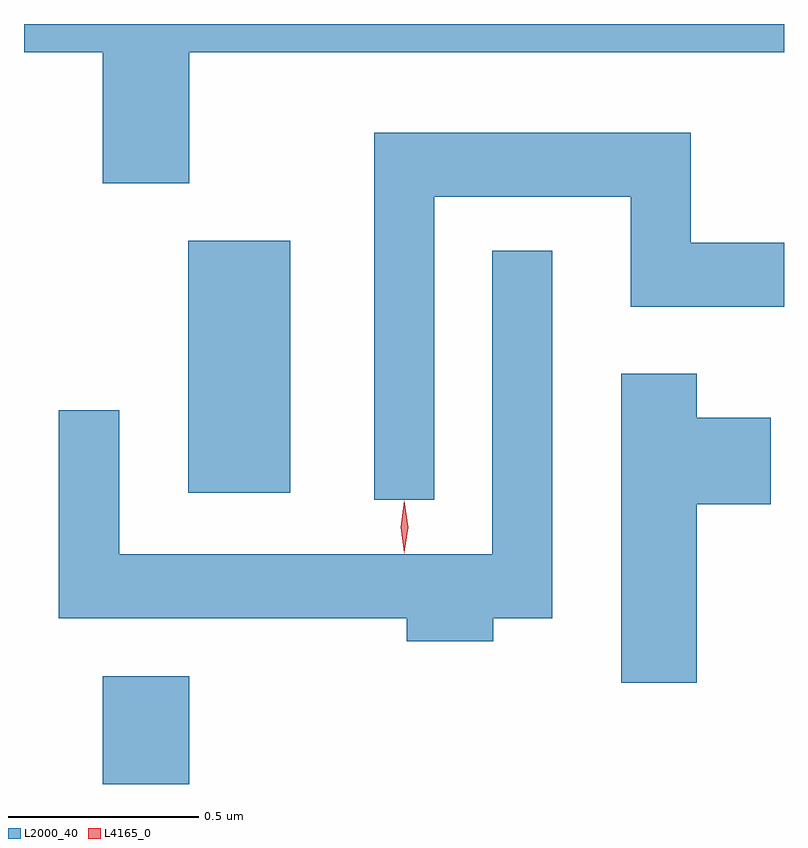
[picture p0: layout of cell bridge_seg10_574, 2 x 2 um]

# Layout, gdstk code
import gdstk
lib = gdstk.Library(unit=1e-6, precision=1e-09)
def R(c, l, rs):  # rectangles x0, y0, x1, y1
    for r in rs: c.add(gdstk.rectangle(r[:2], r[2:], *l))
def P(c, l, *ps):  # polygons
    for p in ps: c.add(gdstk.Polygon(p, *l))
L2000_40 = (2000, 40)
L4165_0 = (4165, 0)

bridge_seg10_574 = lib.new_cell('bridge_seg10_574')
R(bridge_seg10_574, L2000_40, [(787.801,2169.71,788.029,2169.994), (788.026,2170.476,788.294,2171.139)])
P(bridge_seg10_574, L2000_40, [(788.029,2171.636),(789.594,2171.636),(789.594,2171.71),(787.594,2171.71),(787.594,2171.636),(787.801,2171.636),(787.801,2171.291),(788.029,2171.291)],
  [(788.674,2171.256),(789.191,2171.256),(789.191,2170.966),(789.594,2170.966),(789.594,2171.134),(789.349,2171.134),(789.349,2171.424),(788.516,2171.424),(788.516,2170.458),(788.674,2170.458)],
  [(788.829,2170.146),(788.984,2170.146),(788.984,2171.113),(788.826,2171.113),(788.826,2170.314),(787.844,2170.314),(787.844,2170.693),(787.686,2170.693),(787.686,2170.146),(788.601,2170.146),(788.601,2170.086),(788.829,2170.086)],
  [(789.364,2170.446),(789.559,2170.446),(789.559,2170.674),(789.364,2170.674),(789.364,2170.789),(789.166,2170.789),(789.166,2169.976),(789.364,2169.976)])
P(bridge_seg10_574, L4165_0, [(788.595,2170.317),(788.594,2170.318),(788.585,2170.386),(788.594,2170.456),(788.595,2170.456),(788.595,2170.456),(788.605,2170.386),(788.595,2170.318)],
  [(788.595,2170.319),(788.594,2170.32),(788.585,2170.386),(788.594,2170.452),(788.595,2170.453),(788.595,2170.452),(788.605,2170.386),(788.595,2170.32)])

lib.write_gds('bridge_seg10_574.gds')
